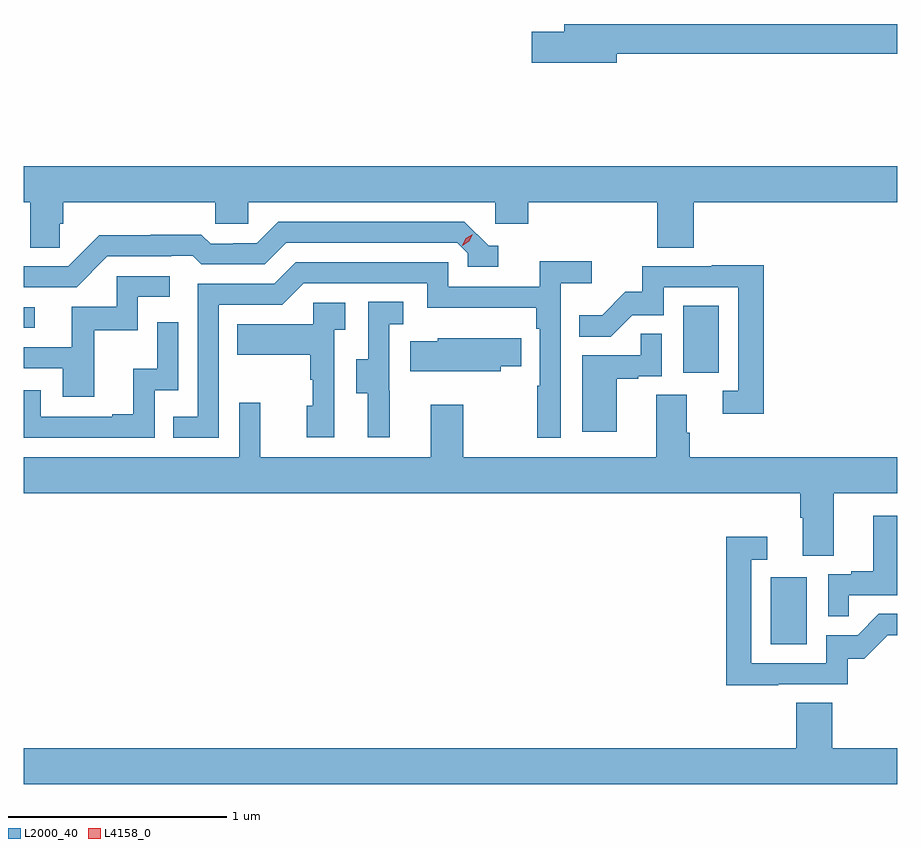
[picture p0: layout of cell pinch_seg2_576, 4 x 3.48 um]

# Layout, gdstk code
import gdstk
lib = gdstk.Library(unit=1e-6, precision=1e-09)
def R(c, l, rs):  # rectangles x0, y0, x1, y1
    for r in rs: c.add(gdstk.rectangle(r[:2], r[2:], *l))
def P(c, l, *ps):  # polygons
    for p in ps: c.add(gdstk.Polygon(p, *l))
L2000_40 = (2000, 40)
L4158_0 = (4158, 0)

pinch_seg2_576 = lib.new_cell('pinch_seg2_576')
R(pinch_seg2_576, L2000_40, [(1080.182,605.652,1080.346,605.959), (1079.78,606.894,1079.944,607.201), (1076.761,607.101,1076.812,607.194)])
P(pinch_seg2_576, L2000_40, [(1079.476,608.356),(1080.761,608.356),(1080.761,608.492),(1079.237,608.492),(1079.237,608.456),(1079.088,608.456),(1079.088,608.314),(1079.476,608.314)],
  [(1076.927,607.578),(1076.942,607.578),(1076.942,607.676),(1077.639,607.676),(1077.639,607.578),(1077.789,607.578),(1077.789,607.676),(1078.92,607.676),(1078.92,607.578),(1079.072,607.578),(1079.072,607.676),(1079.663,607.676),(1079.663,607.468),(1079.828,607.468),(1079.828,607.676),(1080.761,607.676),(1080.761,607.84),(1076.761,607.84),(1076.761,607.676),(1076.79,607.676),(1076.79,607.468),(1076.927,607.468)],
  [(1077.144,607.428),(1077.437,607.428),(1077.437,607.431),(1077.536,607.431),(1077.575,607.392),(1077.864,607.392),(1077.963,607.491),(1078.746,607.491),(1078.794,607.443),(1078.794,607.38),(1078.933,607.38),(1078.933,607.476),(1078.89,607.476),(1078.779,607.587),(1077.926,607.587),(1077.827,607.488),(1077.72,607.488),(1077.72,607.485),(1077.617,607.485),(1077.575,607.528),(1077.342,607.528),(1077.342,607.525),(1077.106,607.525),(1076.964,607.383),(1076.761,607.383),(1076.761,607.287),(1077.003,607.287)],
  [(1077.654,607.206),(1077.945,607.206),(1078.044,607.305),(1078.608,607.305),(1078.608,607.193),(1079.107,607.193),(1079.107,607.097),(1079.124,607.097),(1079.124,606.836),(1079.112,606.836),(1079.112,606.597),(1079.22,606.597),(1079.22,607.304),(1079.362,607.304),(1079.362,607.406),(1079.123,607.406),(1079.123,607.29),(1078.704,607.29),(1078.704,607.401),(1078.007,607.401),(1077.908,607.302),(1077.558,607.302),(1077.558,606.693),(1077.445,606.693),(1077.445,606.597),(1077.654,606.597)],
  [(1080.149,607.388),(1079.911,607.388),(1079.911,607.383),(1079.593,607.383),(1079.593,607.266),(1079.516,607.266),(1079.409,607.159),(1079.305,607.159),(1079.305,607.06),(1079.449,607.06),(1079.547,607.158),(1079.691,607.158),(1079.691,607.287),(1080.033,607.287),(1080.033,606.813),(1079.961,606.813),(1079.961,606.708),(1080.149,606.708)],
  [(1077.083,607.089),(1077.282,607.089),(1077.282,607.242),(1077.43,607.242),(1077.43,607.338),(1077.186,607.338),(1077.186,607.197),(1076.981,607.197),(1076.981,607.011),(1076.761,607.011),(1076.761,606.915),(1076.939,606.915),(1076.939,606.786),(1077.083,606.786)],
  [(1078.436,606.813),(1078.434,606.813),(1078.434,607.117),(1078.498,607.117),(1078.498,607.22),(1078.338,607.22),(1078.338,606.957),(1078.283,606.957),(1078.283,606.802),(1078.337,606.802),(1078.337,606.6),(1078.436,606.6)],
  [(1078.182,607.091),(1078.234,607.091),(1078.234,607.215),(1078.086,607.215),(1078.086,607.117),(1077.739,607.117),(1077.739,606.977),(1078.074,606.977),(1078.074,606.863),(1078.084,606.863),(1078.084,606.744),(1078.058,606.744),(1078.058,606.6),(1078.182,606.6)],
  [(1077.36,606.816),(1077.468,606.816),(1077.468,607.126),(1077.372,607.126),(1077.372,606.914),(1077.263,606.914),(1077.263,606.706),(1077.167,606.706),(1077.167,606.693),(1076.838,606.693),(1076.838,606.816),(1076.761,606.816),(1076.761,606.597),(1077.36,606.597)],
  [(1079.476,606.867),(1079.576,606.867),(1079.576,606.879),(1079.682,606.879),(1079.682,607.073),(1079.587,607.073),(1079.587,606.975),(1079.318,606.975),(1079.318,606.624),(1079.476,606.624)],
  [(1078.945,606.925),(1079.039,606.925),(1079.039,607.053),(1078.928,607.053),(1078.928,607.054),(1078.656,607.054),(1078.656,607.039),(1078.531,607.039),(1078.531,606.902),(1078.945,606.902)],
  [(1080.469,606.344),(1080.761,606.344),(1080.761,606.508),(1079.81,606.508),(1079.81,606.62),(1079.797,606.62),(1079.797,606.794),(1079.657,606.794),(1079.657,606.508),(1078.773,606.508),(1078.773,606.748),(1078.625,606.748),(1078.625,606.508),(1077.845,606.508),(1077.845,606.757),(1077.747,606.757),(1077.747,606.508),(1076.761,606.508),(1076.761,606.344),(1080.317,606.344),(1080.317,606.232),(1080.329,606.232),(1080.329,606.058),(1080.469,606.058)],
  [(1080.539,605.877),(1080.761,605.877),(1080.761,606.241),(1080.65,606.241),(1080.65,605.986),(1080.551,605.986),(1080.551,605.973),(1080.444,605.973),(1080.444,605.779),(1080.539,605.779)],
  [(1080.215,605.469),(1080.534,605.469),(1080.534,605.586),(1080.61,605.586),(1080.717,605.693),(1080.761,605.693),(1080.761,605.792),(1080.677,605.792),(1080.579,605.694),(1080.435,605.694),(1080.435,605.565),(1080.093,605.565),(1080.093,606.039),(1080.166,606.039),(1080.166,606.145),(1079.977,606.145),(1079.977,605.464),(1080.215,605.464)],
  [(1080.299,605.384),(1080.299,605.176),(1076.761,605.176),(1076.761,605.012),(1080.761,605.012),(1080.761,605.176),(1080.464,605.176),(1080.464,605.384)])
P(pinch_seg2_576, L4158_0, [(1078.77,607.477),(1078.77,607.477),(1078.786,607.51),(1078.816,607.53),(1078.816,607.53),(1078.816,607.529),(1078.801,607.497),(1078.77,607.477)])

lib.write_gds('pinch_seg2_576.gds')
